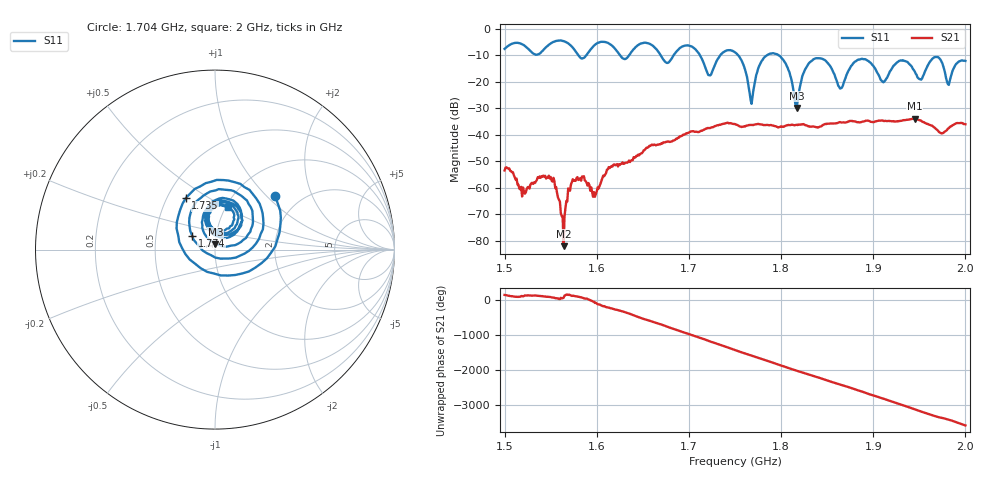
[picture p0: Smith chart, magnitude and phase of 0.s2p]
! NanoVNA-App by SYSJOINT et al v1.1.209 (+OD18)
! Date: 2026-01-21 14:45:47
! Start: 1,5GHz Stop: 2GHz Points: 501
! S-Parameter data: F S11 S21 S12 S22
# Hz S RI R 50
!  Frequency  S11_Real  S11_Imag  S21_Real  S21_Imag  S12_Real  S12_Imag  S22_Real  S22_Imag
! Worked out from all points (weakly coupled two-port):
!   501 points, 1.5 GHz to 2 GHz, reference 50 ohm
!   highest |S21| = -34.02 dB at 1.945 GHz (marker M1); lowest = -82.1 dB at 1.564 GHz (marker M2)
!   lowest |S11| = -29.9 dB at 1.817 GHz (marker M3), VSWR 1.07, Z = 50.1 + j3.2 ohm
!   |S11| at or under -10 dB: 1.712 GHz to 1.734 GHz (22.3 MHz wide, 1.29 % of centre); 1.753 GHz to 1.785 GHz (31.84 MHz wide, 1.8 % of centre); 1.797 GHz to end of sweep (the widest 3 of 6)
!   S12 and S22 are empty: the file has one direction only
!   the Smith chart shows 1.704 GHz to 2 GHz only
!   S11 on the Smith chart (normalised r, x): 1.704 GHz: 1.49, +1.13; 1.735 GHz: 0.62, +0.40; 1.774 GHz: 0.77, +0.12; 2 GHz: 1.02, +0.51
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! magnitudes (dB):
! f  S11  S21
! 1.5 GHz  -7.7  -53.5
! 1.521 GHz  -6.3  -61.5
! 1.552 GHz  -5.2  -57.7
! 1.564 GHz  -4.7  -82.1
! 1.571 GHz  -6.1  -61.1
! 1.584 GHz  -11.3  -55.8
! 1.598 GHz  -6.1  -63.4
! 1.667 GHz  -8.8  -43.8
! 1.704 GHz  -7.0  -38.7
! 1.722 GHz  -17.6  -37.5
! 1.735 GHz  -9.6  -36.1
! 1.75 GHz  -9.0  -36.0
! 1.767 GHz  -27.1  -36.3
! 1.774 GHz  -16.5  -36.0
! 1.798 GHz  -10.2  -37.2
! 1.817 GHz  -29.9  -36.3
! 1.834 GHz  -12.0  -36.9
! 1.864 GHz  -22.6  -35.3
! 1.885 GHz  -11.7  -35.4
! 1.917 GHz  -17.1  -34.8
! 1.945 GHz  -16.1  -34.0
! 2 GHz  -12.2  -36.1
